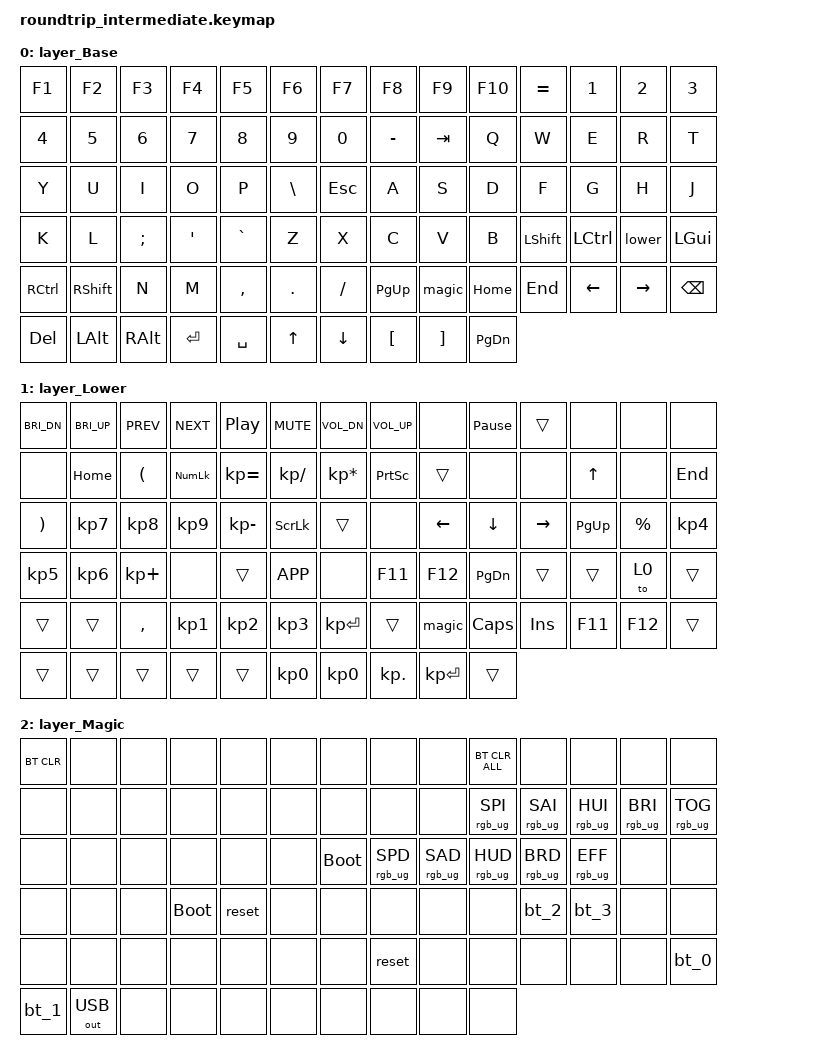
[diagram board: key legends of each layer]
/*
 * Copyright (c) 2025 The ZMK Contributors
 * SPDX-License-Identifier: MIT
 */

#include <behaviors.dtsi>
#include <dt-bindings/zmk/keys.h>

#define Base 0
#define Lower 1
#define Magic 2

/ {
    keymap {
        compatible = "zmk,keymap";
    
        layer_Base {
            bindings = <
    &kp F1       &kp F2       &kp F3       &kp F4       &kp F5       &kp F6       &kp F7       &kp F8       &kp F9       &kp F10      &kp EQUAL    &kp N1       &kp N2       &kp N3
    &kp N4       &kp N5       &kp N6       &kp N7       &kp N8       &kp N9       &kp N0       &kp MINUS    &kp TAB      &kp Q        &kp W        &kp E        &kp R        &kp T
    &kp Y        &kp U        &kp I        &kp O        &kp P        &kp BSLH     &kp ESC      &kp A        &kp S        &kp D        &kp F        &kp G        &kp H        &kp J
    &kp K        &kp L        &kp SEMI     &kp SQT      &kp GRAVE    &kp Z        &kp X        &kp C        &kp V        &kp B        &kp LSHFT    &kp LCTRL    &lower       &kp LGUI
    &kp RCTRL    &kp RSHFT    &kp N        &kp M        &kp COMMA    &kp DOT      &kp FSLH     &kp PG_UP    &magic       &kp HOME     &kp END      &kp LEFT     &kp RIGHT    &kp BSPC
    &kp DEL      &kp LALT     &kp RALT     &kp RET      &kp SPACE    &kp UP       &kp DOWN     &kp LBKT     &kp RBKT     &kp PG_DN
            >;
        };
    
        layer_Lower {
            bindings = <
    &kp C_BRI_DN &kp C_BRI_UP &kp C_PREV   &kp C_NEXT   &kp C_PP     &kp C_MUTE   &kp C_VOL_DN &kp C_VOL_UP &none        &kp PAUSE_BREAK &trans       &none        &none        &none
    &none        &kp HOME     &kp LEFT_PARENTHESIS &kp KP_NUM   &kp KP_EQUAL &kp KP_SLASH &kp KP_MULTIPLY &kp PRINTSCREEN &trans       &none        &none        &kp UP_ARROW &none        &kp END
    &kp RIGHT_PARENTHESIS &kp KP_N7    &kp KP_N8    &kp KP_N9    &kp KP_MINUS &kp SCROLLLOCK &trans       &none        &kp LEFT_ARROW &kp DOWN_ARROW &kp RIGHT_ARROW &kp PG_UP    &kp PERCENT  &kp KP_N4
    &kp KP_N5    &kp KP_N6    &kp KP_PLUS  &none        &trans       &kp K_APP    &none        &kp F11      &kp F12      &kp PG_DN    &trans       &trans       &to 0        &trans
    &trans       &trans       &kp COMMA    &kp KP_N1    &kp KP_N2    &kp KP_N3    &kp KP_ENTER &trans       &magic       &kp CAPS     &kp INS      &kp F11      &kp F12      &trans
    &trans       &trans       &trans       &trans       &trans       &kp KP_N0    &kp KP_N0    &kp KP_DOT   &kp KP_ENTER &trans
            >;
        };
    
        layer_Magic {
            bindings = <
    &bt BT_CLR   &none        &none        &none        &none        &none        &none        &none        &none        &bt BT_CLR_ALL &none        &none        &none        &none
    &none        &none        &none        &none        &none        &none        &none        &none        &none        &rgb_ug RGB_SPI &rgb_ug RGB_SAI &rgb_ug RGB_HUI &rgb_ug RGB_BRI &rgb_ug RGB_TOG
    &none        &none        &none        &none        &none        &none        &bootloader  &rgb_ug RGB_SPD &rgb_ug RGB_SAD &rgb_ug RGB_HUD &rgb_ug RGB_BRD &rgb_ug RGB_EFF &none        &none
    &none        &none        &none        &bootloader  &reset       &none        &none        &none        &none        &none        &bt_2        &bt_3        &none        &none
    &none        &none        &none        &none        &none        &none        &none        &reset       &none        &none        &none        &none        &none        &bt_0
    &bt_1        &out OUT_USB &none        &none        &none        &none        &none        &none        &none        &none
            >;
        };
    };
};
